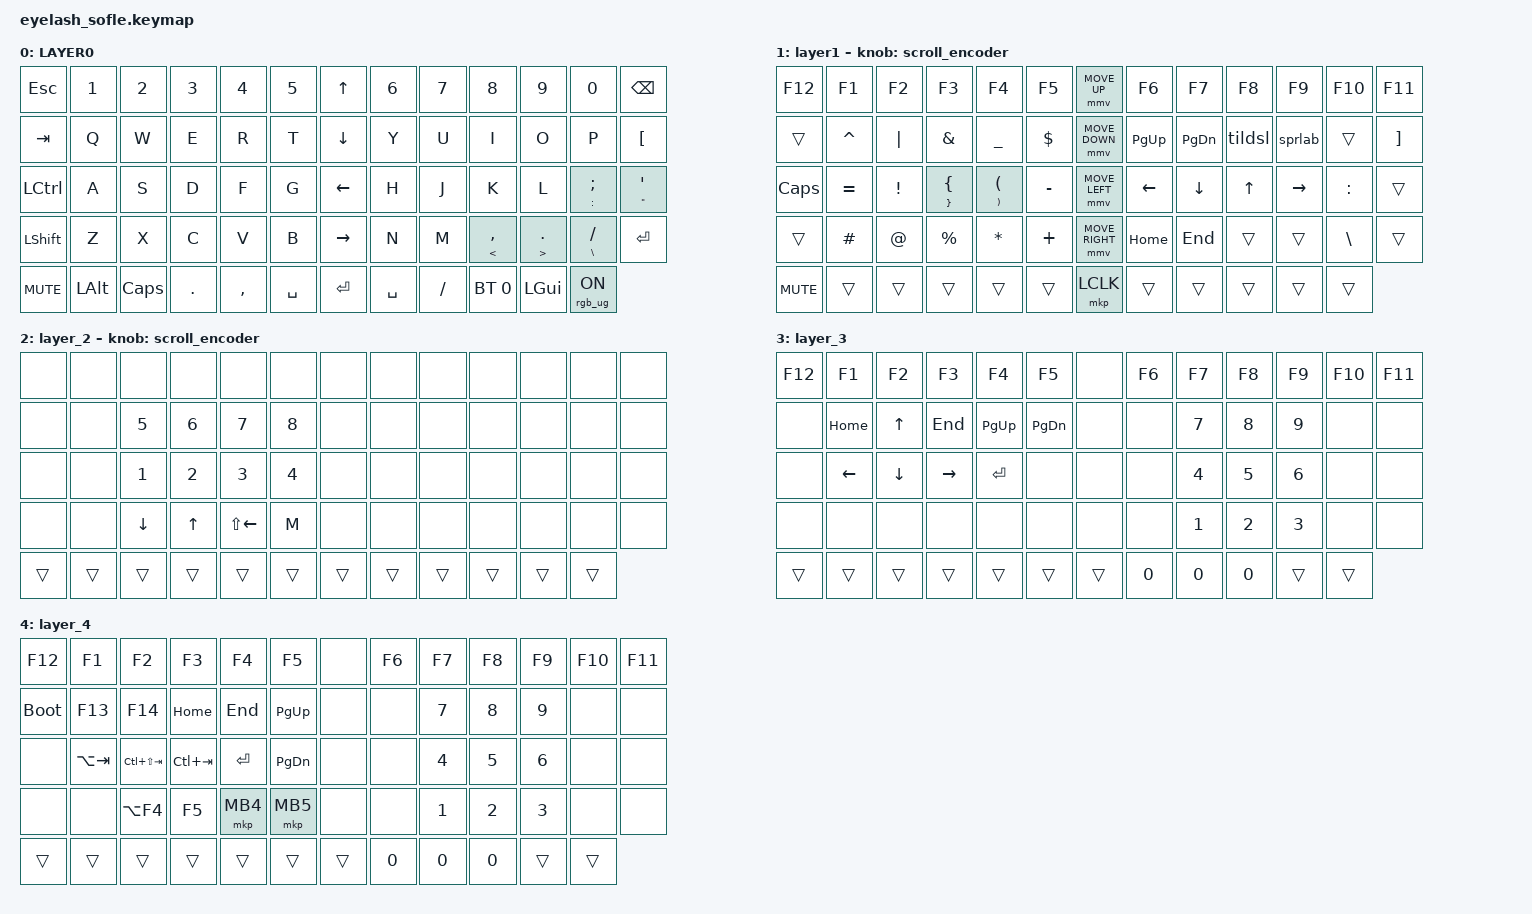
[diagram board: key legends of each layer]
#define ZMK_POINTING_DEFAULT_MOVE_VAL 1200  // 600
#define ZMK_POINTING_DEFAULT_SCRL_VAL 25   // 10

#include <input/processors.dtsi>
#include <zephyr/dt-bindings/input/input-event-codes.h>
#include <behaviors.dtsi>
#include <dt-bindings/zmk/bt.h>
#include <dt-bindings/zmk/keys.h>
#include <dt-bindings/zmk/pointing.h>
#include <dt-bindings/zmk/rgb.h>

&mmv_input_listener { input-processors = <&zip_xy_scaler 2 1>; };

&msc_input_listener { input-processors = <&zip_scroll_scaler 2 1>; };

&msc {
    acceleration-exponent = <1>;      // 0
    time-to-max-speed-ms = <100>;       // 300
    delay-ms = <0>;                   // 0
};

&mmv {
    time-to-max-speed-ms = <500>;
    acceleration-exponent = <1>;
    trigger-period-ms = <16>;
};

&mt {
    flavor = "tap-preferred";
    quick-tap-ms = <150>;
    require-prior-idle-ms = <125>;
};

&lt {
    flavor = "tap-preferred";
    quick-tap-ms = <150>;
    require-prior-idle-ms = <125>;
};

/ {
    macros {
        win_choose: win_choose {
            compatible = "zmk,behavior-macro";
            wait-ms = <0>;
            tap-ms = <0>;
            #binding-cells = <0>;
            bindings =
                <&macro_press>,
                <&mo 2 &kp LGUI>,
                <&macro_pause_for_release>,
                <&macro_release>,
                <&mo 2 &kp LGUI>;
        };

        blocks: blocks {
            compatible = "zmk,behavior-macro";
            wait-ms = <0>;
            tap-ms = <0>;
            #binding-cells = <0>;
            bindings =
                <&macro_press>,
                <&kp LCTRL &kp LEFT_ALT>,
                <&macro_tap>,
                <&kp END>,
                <&macro_wait_time 1000>,
                <&macro_tap>,
                <&kp ENTER>,
                <&macro_release>,
                <&kp LCTRL &kp LEFT_ALT>;
        };

        plappr: plappr {
            compatible = "zmk,behavior-macro";
            wait-ms = <30>;
            tap-ms = <20>;
            #binding-cells = <0>;
            bindings =
                <&macro_tap>,
                <&kp P &kp L &kp E &kp A &kp S &kp E &kp SPACE &kp A &kp P &kp P &kp R &kp O &kp V &kp E &kp SPACE>,
                <&macro_tap>,
                <&kp LC(V)>,
                <&macro_wait_time 30>,
                <&macro_tap>,
                <&kp ENTER>;
        };

        sprlab: sprlab {
            compatible = "zmk,behavior-macro";
            wait-ms = <30>;
            tap-ms = <20>;
            #binding-cells = <0>;
            bindings =
                <&macro_tap>,
                <&kp S &kp P &kp R &kp I &kp N &kp G &kp DOT &kp C &kp L &kp O &kp U &kp D &kp DOT &kp C &kp O &kp N &kp F &kp I &kp G &kp DOT &kp L &kp A &kp B &kp E &kp L &kp EQUAL>;
        };

        tildsl: tildsl {
            compatible = "zmk,behavior-macro";
            wait-ms = <30>;
            tap-ms = <30>;
            #binding-cells = <0>;
            bindings = <&macro_tap>, <&kp TILDE &kp FSLH>;
        };
    };

    behaviors {
        mtwc: mtwc {
            compatible = "zmk,behavior-hold-tap";
            #binding-cells = <2>;
            tapping-term-ms = <200>;
            flavor = "tap-preferred";
            quick-tap-ms = <150>;
            require-prior-idle-ms = <125>;
            bindings = <&win_choose>, <&kp>;
        };

        se: shiftenter {
            compatible = "zmk,behavior-hold-tap";
            #binding-cells = <2>;
            tapping-term-ms = <100>;
            flavor = "hold-preferred";
            quick-tap-ms = <150>;
            bindings = <&kp>, <&kp>;
        };

        td0: tap_dance_0 {
            compatible = "zmk,behavior-tap-dance";
            #binding-cells = <0>;
            tapping-term-ms = <200>;
            bindings = <&kp LG(M)>, <&blocks>, <&plappr>;
        };
    };

    scroll_encoder: scroll_encoder {
        compatible = "zmk,behavior-sensor-rotate";
        #sensor-binding-cells = <0>;
        bindings = <&msc SCRL_DOWN>, <&msc SCRL_UP>;

        tap-ms = <100>;
    };

    keymap {
        compatible = "zmk,keymap";

        layer0 {
            bindings = <
&kp ESC     &kp N1    &kp N2    &kp N3   &kp N4     &kp N5       &kp UP_ARROW     &kp N6     &kp N7    &kp N8        &kp N9      &kp N0          &kp BSPC
&kp TAB     &kp Q     &kp W     &kp E    &kp R      &kp T        &kp DOWN_ARROW   &kp Y      &kp U     &kp I         &kp O       &kp P           &kp LBKT
&kp LCTRL   &kp A     &kp S     &kp D    &kp F      &kp G        &kp LEFT_ARROW   &kp H      &kp J     &kp K         &kp L       &mt COLON SEMI  &mt DQT APOS
&kp LSHFT   &kp Z     &kp X     &kp C    &kp V      &kp B        &kp RIGHT_ARROW  &kp N      &kp M     &mt LT COMMA  &mt GT DOT  &mt BSLH FSLH   &kp ENTER
&kp C_MUTE  &kp LALT  &kp CAPS  &kp DOT  &kp COMMA  &kp SPACE    &kp ENTER        &kp SPACE  &kp FSLH  &bt BT_SEL 0  &kp LGUI    &rgb_ug RGB_ON
            >;

            display-name = "LAYER0";
        };

        layer_1 {
            bindings = <
&kp F12     &kp F1     &kp F2    &kp F3         &kp F4         &kp F5       &mmv MOVE_UP     &kp F6     &kp F7     &kp F8   &kp F9     &kp F10    &kp F11
&trans      &kp CARET  &kp PIPE  &kp AMPS       &kp UNDER      &kp DLLR     &mmv MOVE_DOWN   &kp PG_UP  &kp PG_DN  &tildsl  &sprlab    &trans     &kp RBKT
&kp CAPS    &kp EQUAL  &kp EXCL  &mt RBRC LBRC  &mt RPAR LPAR  &kp MINUS    &mmv MOVE_LEFT   &kp LEFT   &kp DOWN   &kp UP   &kp RIGHT  &kp COLON  &trans
&trans      &kp HASH   &kp AT    &kp PRCNT      &kp STAR       &kp PLUS     &mmv MOVE_RIGHT  &kp HOME   &kp END    &trans   &trans     &kp BSLH   &trans
&kp C_MUTE  &trans     &trans    &trans         &trans         &trans       &mkp LCLK        &trans     &trans     &trans   &trans     &trans
            >;

            display-name = "layer1";
            sensor-bindings = <&scroll_encoder>;
        };

        layer_2 {
            bindings = <
&none   &none   &none     &none   &none         &none     &none   &none   &none   &none   &none   &none   &none
&none   &none   &kp N5    &kp N6  &kp N7        &kp N8    &none   &none   &none   &none   &none   &none   &none
&none   &none   &kp N1    &kp N2  &kp N3        &kp N4    &none   &none   &none   &none   &none   &none   &none
&none   &none   &kp DOWN  &kp UP  &kp LS(LEFT)  &kp M     &none   &none   &none   &none   &none   &none   &none
&trans  &trans  &trans    &trans  &trans        &trans    &trans  &trans  &trans  &trans  &trans  &trans
            >;

            sensor-bindings = <&scroll_encoder>;
        };

        layer_3 {
            bindings = <
&kp F12  &kp F1    &kp F2    &kp F3     &kp F4     &kp F5       &none   &kp F6  &kp F7  &kp F8  &kp F9  &kp F10  &kp F11
&none    &kp HOME  &kp UP    &kp END    &kp PG_UP  &kp PG_DN    &none   &none   &kp N7  &kp N8  &kp N9  &none    &none
&none    &kp LEFT  &kp DOWN  &kp RIGHT  &kp ENTER  &none        &none   &none   &kp N4  &kp N5  &kp N6  &none    &none
&none    &none     &none     &none      &none      &none        &none   &none   &kp N1  &kp N2  &kp N3  &none    &none
&trans   &trans    &trans    &trans     &trans     &trans       &trans  &kp N0  &kp N0  &kp N0  &trans  &trans
            >;
        };

        layer_4 {
            bindings = <
&kp F12      &kp F1       &kp F2           &kp F3       &kp F4     &kp F5       &none   &kp F6  &kp F7  &kp F8  &kp F9  &kp F10  &kp F11
&bootloader  &kp F13      &kp F14          &kp HOME     &kp END    &kp PG_UP    &none   &none   &kp N7  &kp N8  &kp N9  &none    &none
&none        &kp LA(TAB)  &kp LC(LS(TAB))  &kp LC(TAB)  &kp ENTER  &kp PG_DN    &none   &none   &kp N4  &kp N5  &kp N6  &none    &none
&none        &none        &kp LA(F4)       &kp F5       &mkp MB4   &mkp MB5     &none   &none   &kp N1  &kp N2  &kp N3  &none    &none
&trans       &trans       &trans           &trans       &trans     &trans       &trans  &kp N0  &kp N0  &kp N0  &trans  &trans
            >;
        };
    };
};
